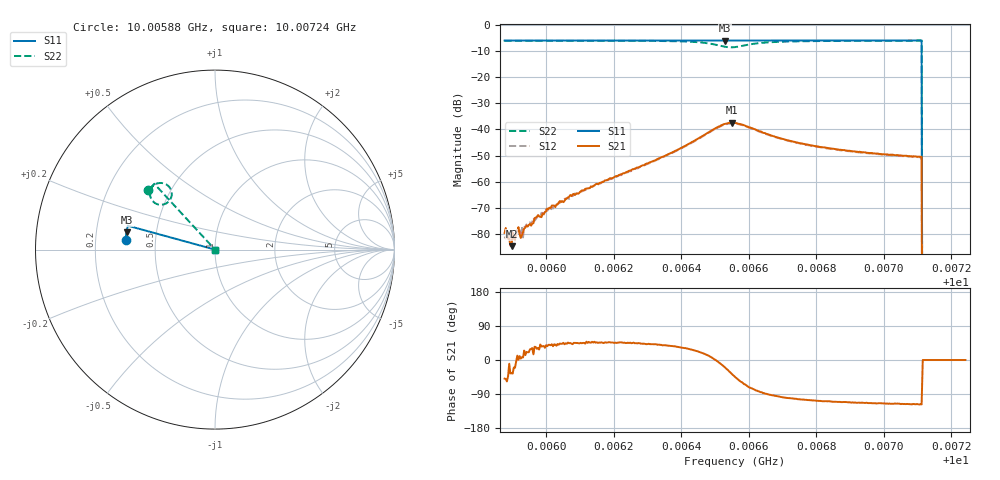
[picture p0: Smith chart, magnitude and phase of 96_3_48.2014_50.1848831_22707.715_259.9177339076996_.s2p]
#  HZ  S  RI  R  50.00
! Rohde & Schwarz Vector Network Analyzer
! Rohde-Schwarz,ZNB20-2Port,1311601062101988,3.16
! Created: UTC 3/20/2024, 11:40:18 AM
! freq[Hz]  re:S11  im:S11  re:S21  im:S21  re:S12  im:S12  re:S22  im:S22
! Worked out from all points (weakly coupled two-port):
!   401 points, 10.00588 GHz to 10.00724 GHz, reference 50 ohm
!   highest |S21| = -37.41 dB at 10.00655 GHz (marker M1); lowest = -84.7 dB at 10.0059 GHz (marker M2)
!   lowest |S11| = -6.0 dB at 10.00653 GHz (marker M3), VSWR 3.01, Z = 16.8 + j4.31 ohm
!   |S11| at or under -10 dB: 10.00711 GHz to end of sweep
!   |S22| runs from - to -6.0 dB; largest |S21 - S12| = 0.00091
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1.0005877e10  -0.4985 0.0546  6.84e-05 -7.91e-05  5.75e-05 -6.85e-05  -0.3729 0.3302
1.0005897e10  -0.4983 0.0559  4.78e-05 -3.34e-05  6e-05 -2.94e-05  -0.3717 0.3315
1.0005911e10  -0.4982 0.0567  0.000112 -8.37e-06  9.33e-05 3.5e-06  -0.371 0.3325
1.0005928e10  -0.4981 0.0579  9.29e-05 1.2e-05  0.000138 1.16e-05  -0.37 0.3336
1.0005941e10  -0.498 0.0588  0.000134 5.25e-05  0.000138 6.27e-05  -0.3692 0.3344
1.0005955e10  -0.4979 0.0596  0.000126 7.03e-05  0.000125 8.57e-05  -0.3685 0.3353
1.0005972e10  -0.4978 0.0609  0.000185 0.000104  0.000153 0.000138  -0.3673 0.3365
1.0005986e10  -0.4978 0.0616  0.000171 0.000121  0.000207 0.000146  -0.3666 0.3375
1.000601e10  -0.4975 0.0632  0.000243 0.000205  0.000263 0.000187  -0.3651 0.339
1.0006058e10  -0.4971 0.0665  0.000333 0.000321  0.000331 0.000347  -0.3618 0.3424
1.0006105e10  -0.4969 0.0695  0.000486 0.000474  0.000428 0.000486  -0.3583 0.3458
1.0006334e10  -0.495 0.0844  0.00214 0.00184  0.00196 0.00186  -0.33 0.3657
1.0006464e10  -0.4932 0.0928  0.00715 0.00235  0.00687 0.00261  -0.2754 0.3652
1.0006528e10  -0.4919 0.0964  0.012 -0.00411  0.0119 -0.00334  -0.2422 0.2969
1.0006549e10  -0.4919 0.0973  0.0109 -0.00793  0.0109 -0.00702  -0.2604 0.2656
1.0006559e10  -0.4918 0.0978  0.00945 -0.00935  0.00974 -0.0085  -0.2754 0.2553
1.0006634e10  -0.4917 0.1024  0.000823 -0.00915  0.00136 -0.00887  -0.3535 0.2793
1.0006788e10  -0.4903 0.1126  -0.00139 -0.00473  -0.00116 -0.00469  -0.3585 0.3329
1.0007017e10  -0.4872 0.127  -0.00138 -0.00295  -0.00124 -0.00297  -0.3438 0.3596
1.0007105e10  -0.486 0.1326  -0.00138 -0.00267  -0.00122 -0.00268  -0.3386 0.3665
1.0007122e10  0 0  0 0  0 0  0 0
1.0007242e10  0 0  0 0  0 0  0 0
